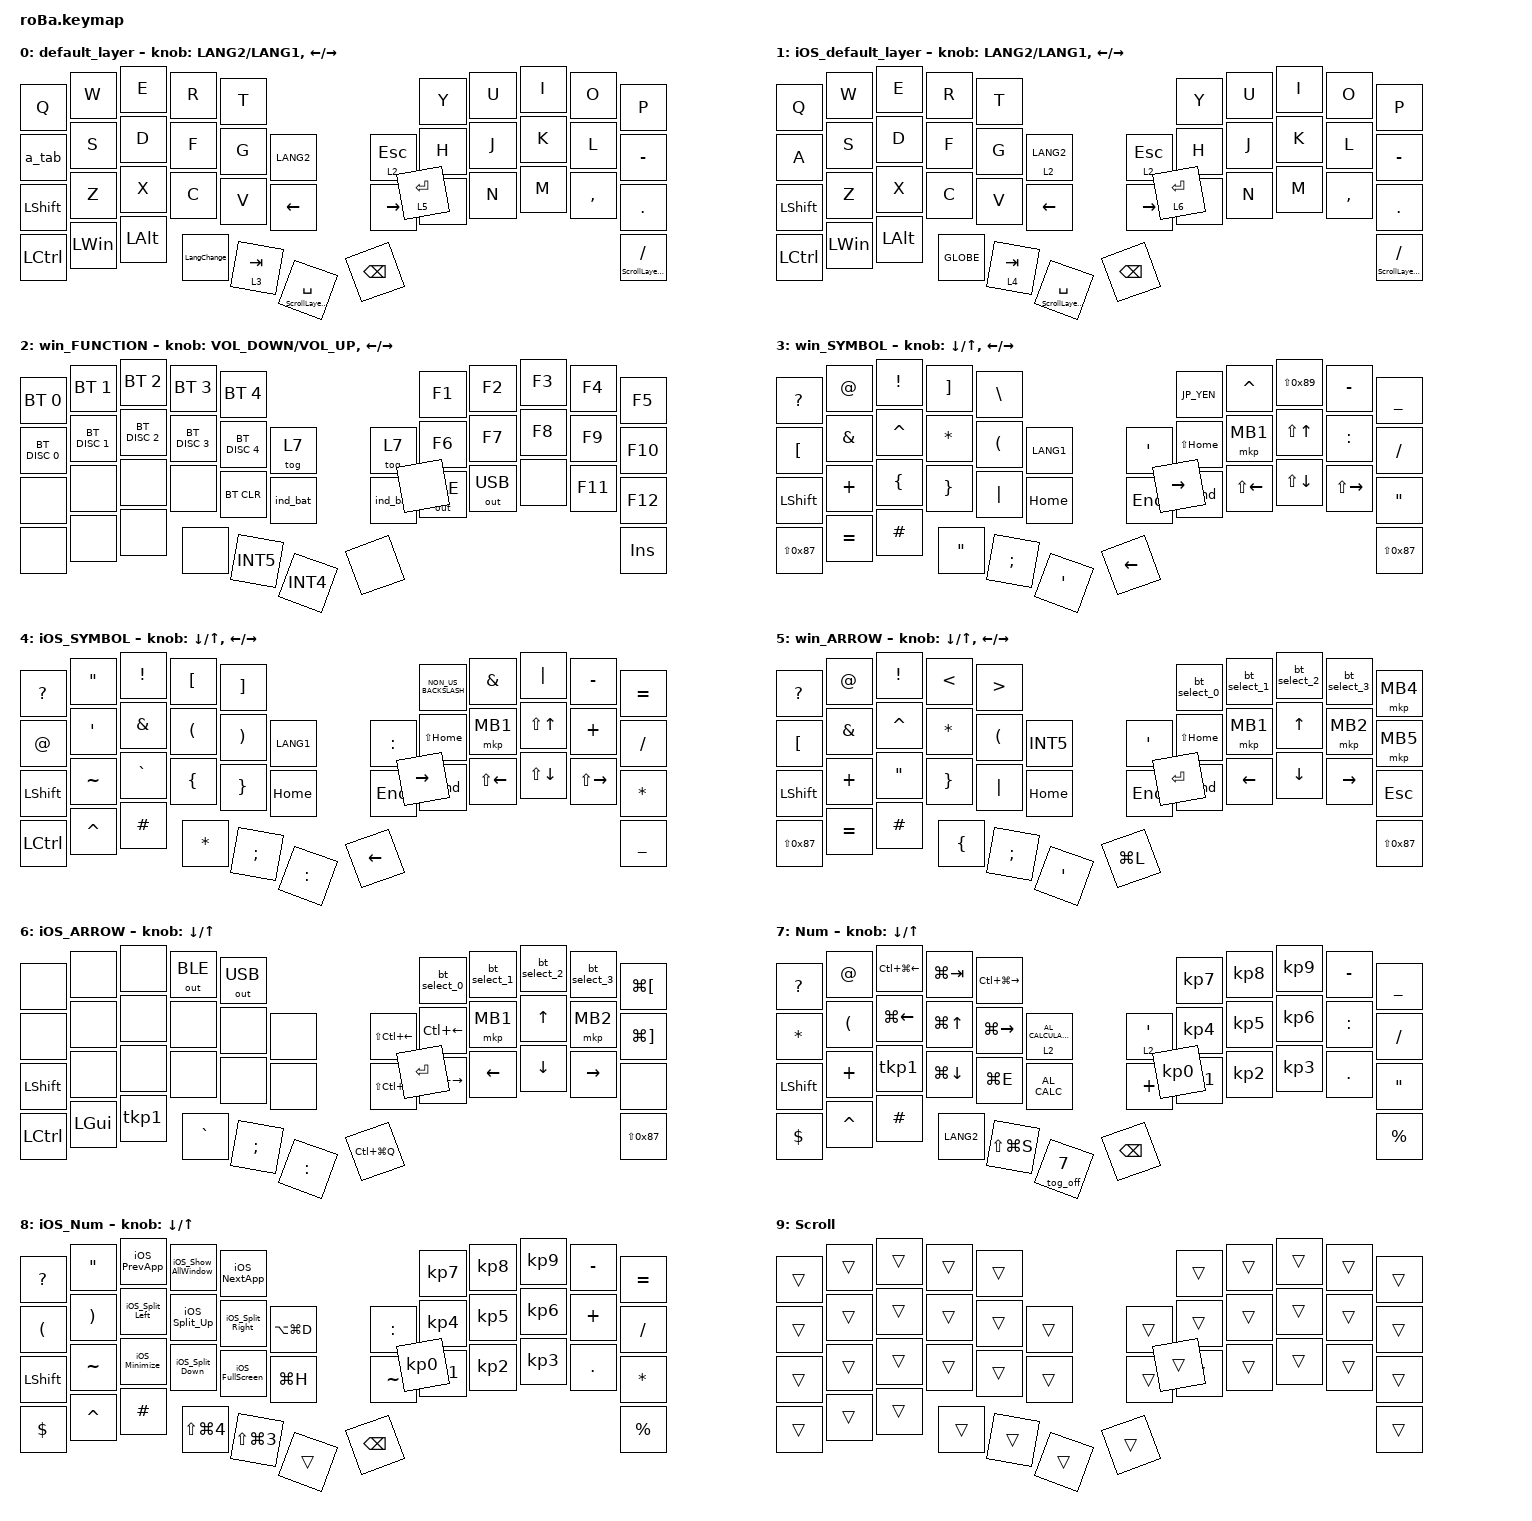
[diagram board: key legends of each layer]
#include <behaviors/rgbled_widget.dtsi>
#include <behaviors.dtsi>
#include <dt-bindings/zmk/bt.h>
#include <dt-bindings/zmk/keys.h>
#include <dt-bindings/zmk/outputs.h>
#include <dt-bindings/zmk/pointing.h>

// OS設定を日本語キーボードのまま使用するための変換定義

#define JP_DQUOTE       AT                // "
#define JP_AMPERSAND    CARET             // &
#define JP_QUOTE        AMPERSAND         // '
#define JP_EQUAL        UNDER             // =
#define JP_CARET        EQUAL             // ^
#define JP_YEN          0x89              // ¥
#define JP_PLUS         COLON             // +
#define JP_TILDE        PLUS              // ~
#define JP_PIPE         LS(0x89)          // |
#define JP_AT           LEFT_BRACKET      // @
#define JP_COLON        SINGLE_QUOTE      // :
#define JP_ASTERISK     DOUBLE_QUOTES     // *
#define JP_BACKQUOTE    LEFT_BRACE        // `
#define JP_UNDERSCORE   LS(0x87)          // _
#define JP_LBRACKET     RIGHT_BRACKET     // [
#define JP_RBRACKET     BACKSLASH         // ]
#define JP_LPAREN       ASTERISK          // (
#define JP_RPAREN       LEFT_PARENTHESIS  // )
#define JP_LBRACE       RIGHT_BRACE       // {
#define JP_RBRACE       PIPE              // }
#define JP_KANA         LANGUAGE_1        // かな
#define JP_EISU         LANGUAGE_2        // 英数
#define JP_HANZEN       GRAVE             // 半角/全角

&mt {
    flavor = "tap-preferred";
    quick-tap-ms = <0>;
};

&trackball {
    // automouse-layer = <1>;

    scroll-layers = <9>;

    arrows {
        layers = <3>;
        bindings =
            <&kp RIGHT_ARROW>,
            <&kp LEFT_ARROW>,
            <&kp UP_ARROW>,
            <&kp DOWN_ARROW>;

        tick = <60>;
        wait-ms = <50>;
        tap-ms = <5>;
    };

    arrows_iOS {
        layers = <4>;
        bindings =
            <&kp RIGHT_ARROW>,
            <&kp LEFT_ARROW>,
            <&kp UP_ARROW>,
            <&kp DOWN_ARROW>;

        tick = <30>;
        wait-ms = <10>;
        tap-ms = <5>;
    };
};

/ {
    combos {
        compatible = "zmk,combos";

        esc {
            bindings = <&kp ESC>;
            key-positions = <0 1>;
        };

        Fn2 {
            bindings = <&kp F2>;
            key-positions = <1 2>;
        };

        Fn5 {
            bindings = <&kp F5>;
            key-positions = <3 4>;
        };

        Left_Click {
            bindings = <&mkp MB1>;
            key-positions = <18 19>;
        };

        Right_Click {
            bindings = <&mkp MB2>;
            key-positions = <20 19>;
        };

        comboDELL {
            bindings = <&kp DEL>;
            key-positions = <8 9>;
        };

        ctrlQ {
            bindings = <&kp LC(Q)>;
            key-positions = <6 7>;
        };

        Underbar {
            bindings = <&kp JP_UNDERSCORE>;
            key-positions = <27 26>;
        };

        Pipe {
            bindings = <&kp JP_PIPE>;
            key-positions = <13 3>;
        };

        WindowClose {
            bindings = <&window_close>;
            key-positions = <8 7 9 6>;
        };

        ContextMenu {
            bindings = <&kp K_CONTEXT_MENU>;
            key-positions = <31 32>;
        };

        Home {
            bindings = <&kp HOME>;
            key-positions = <17 18 16>;
        };

        End {
            bindings = <&kp END>;
            key-positions = <30 29 28>;
        };

        Equal {
            bindings = <&kp JP_EQUAL>;
            key-positions = <26 25>;
        };

        percent {
            bindings = <&kp PERCENT>;
            key-positions = <14 13>;
        };

        colon {
            bindings = <&kp JP_COLON>;
            key-positions = <14 4>;
        };

        semicolon {
            bindings = <&kp SEMICOLON>;
            key-positions = <14 26>;
        };

        mb3 {
            bindings = <&mkp MB3>;
            key-positions = <20 19 18>;
        };

        comboEnter {
            bindings = <&kp ENTER>;
            key-positions = <33 42>;
        };

        Asterisk {
            bindings = <&kp JP_ASTERISK>;
            key-positions = <13 25>;
        };

        doublequote {
            bindings = <&kp JP_DQUOTE>;
            key-positions = <24 12>;
        };

        single_quote {
            bindings = <&kp JP_QUOTE>;
            key-positions = <23 11>;
        };
    };

    macros {
        to_layer_0: to_layer_0 {
            compatible = "zmk,behavior-macro-one-param";
            #binding-cells = <1>;
            bindings = <&to 0 &macro_param_1to1 &kp MACRO_PLACEHOLDER>;
            label = "TO_LAYER_0";
        };

        tkp1: tkp1 {
            compatible = "zmk,behavior-macro";
            #binding-cells = <0>;
            bindings = <&kp LS(T) &kp R &kp N5 &kp N3 &kp LS(D) &kp EXCL &kp G &kp J &kp O>;
            label = "TKP1";
        };

        window_close: window_close {
            compatible = "zmk,behavior-macro";
            #binding-cells = <0>;
            bindings =
                <&macro_press>,
                <&kp LEFT_ALT>,
                <&macro_wait_time 500>,
                <&macro_tap>,
                <&kp F4>,
                <&macro_wait_time 500>,
                <&macro_release>,
                <&kp LEFT_ALT>;

            label = "WINDOW_CLOSE";
        };

        bt_select_0: bt_select_0 {
            compatible = "zmk,behavior-macro";
            #binding-cells = <0>;
            bindings = <&tog_off 1>, <&macro_wait_time 200>, <&bt BT_SEL 0>;

            label = "BT_SELECT_0";
        };

        bt_select_1: bt_select_1 {
            compatible = "zmk,behavior-macro";
            #binding-cells = <0>;
            bindings = <&tog_off 1>, <&macro_wait_time 200>, <&bt BT_SEL 1>;

            label = "BT_SELECT_1";
        };

        bt_select_2: bt_select_2 {
            compatible = "zmk,behavior-macro";
            #binding-cells = <0>;
            bindings = <&bt BT_SEL 2>, <&macro_wait_time 500>, <&tog_on 1>;

            label = "BT_SELECT_2";
        };

        ScrollLayer_win: ScrollLayer_win {
            compatible = "zmk,behavior-macro";
            #binding-cells = <0>;
            bindings =
                <&tog_on 7>,
                <&macro_wait_time 100>,
                <&tog_on 9>,
                <&macro_pause_for_release>,
                <&tog_off 7>,
                <&macro_wait_time 100>,
                <&tog_off 9>;

            label = "SCROLLLAYER_WIN";
        };

        ScrollLayer_iOS: ScrollLayer_iOS {
            compatible = "zmk,behavior-macro";
            #binding-cells = <0>;
            bindings =
                <&tog_on 8>,
                <&macro_wait_time 100>,
                <&tog_on 9>,
                <&macro_pause_for_release>,
                <&tog_off 8>,
                <&macro_wait_time 100>,
                <&tog_off 9>;

            label = "SCROLLLAYER_IOS";
        };

        iOS_FullScreen: iOS_FullScreen {
            compatible = "zmk,behavior-macro";
            #binding-cells = <0>;
            bindings =
                <&macro_press>,
                <&kp GLOBE>,
                <&macro_tap>,
                <&kp F>,
                <&macro_release>,
                <&kp GLOBE>;

            label = "IOS_FULLSCREEN";
        };

        iOS_Minimize: iOS_Minimize {
            compatible = "zmk,behavior-macro";
            #binding-cells = <0>;
            bindings =
                <&macro_press>,
                <&kp GLOBE>,
                <&macro_tap>,
                <&kp M>,
                <&macro_release>,
                <&kp GLOBE>;

            label = "IOS_MINIMIZE";
        };

        iOS_Split_Left: iOS_Split_Left {
            compatible = "zmk,behavior-macro";
            #binding-cells = <0>;
            bindings =
                <&macro_press>,
                <&kp LCTRL &kp GLOBE>,
                <&macro_tap>,
                <&kp LEFT_ARROW>,
                <&macro_release>,
                <&kp LCTRL &kp GLOBE>;

            label = "IOS_SPLIT_LEFT";
        };

        iOS_Split_Right: iOS_Split_Right {
            compatible = "zmk,behavior-macro";
            #binding-cells = <0>;
            bindings =
                <&macro_press>,
                <&kp LCTRL &kp GLOBE>,
                <&macro_tap>,
                <&kp RIGHT_ARROW>,
                <&macro_release>,
                <&kp LCTRL &kp GLOBE>;

            label = "IOS_SPLIT_RIGHT";
        };

        iOS_Split_Up: iOS_Split_Up {
            compatible = "zmk,behavior-macro";
            #binding-cells = <0>;
            bindings =
                <&macro_press>,
                <&kp LCTRL &kp GLOBE>,
                <&macro_tap>,
                <&kp UP_ARROW>,
                <&macro_release>,
                <&kp LCTRL &kp GLOBE>;

            label = "IOS_SPLIT_UP";
        };

        iOS_Split_Down: iOS_Split_Down {
            compatible = "zmk,behavior-macro";
            #binding-cells = <0>;
            bindings =
                <&macro_press>,
                <&kp LCTRL &kp GLOBE>,
                <&macro_tap>,
                <&kp DOWN_ARROW>,
                <&macro_release>,
                <&kp LCTRL &kp GLOBE>;

            label = "IOS_SPLIT_DOWN";
        };

        iOS_Show_AllWindow: iOS_Show_AllWindow {
            compatible = "zmk,behavior-macro";
            #binding-cells = <0>;
            bindings =
                <&macro_press>,
                <&kp GLOBE>,
                <&macro_tap>,
                <&kp UP_ARROW>,
                <&macro_release>,
                <&kp GLOBE>;

            label = "IOS_SHOW_ALLWINDOW";
        };

        iOS_NextApp: iOS_NextApp {
            compatible = "zmk,behavior-macro";
            #binding-cells = <0>;
            bindings =
                <&macro_press>,
                <&kp GLOBE>,
                <&macro_tap>,
                <&kp RIGHT_ARROW>,
                <&macro_release>,
                <&kp GLOBE>;

            label = "IOS_NEXTAPP";
        };

        iOS_PrevApp: iOS_PrevApp {
            compatible = "zmk,behavior-macro";
            #binding-cells = <0>;
            bindings =
                <&macro_press>,
                <&kp GLOBE>,
                <&macro_tap>,
                <&kp LEFT_ARROW>,
                <&macro_release>,
                <&kp GLOBE>;

            label = "IOS_PREVAPP";
        };

        bt_select_3: bt_select_3 {
            compatible = "zmk,behavior-macro";
            #binding-cells = <0>;
            bindings = <&tog_off 1>, <&macro_wait_time 200>, <&bt BT_SEL 3>;

            label = "BT_SELECT_3";
        };
    };

    behaviors {
        lt_to_layer_0: lt_to_layer_0 {
            compatible = "zmk,behavior-hold-tap";
            label = "LAYER_TAP_TO_0";
            bindings = <&mo>, <&to_layer_0>;

            #binding-cells = <2>;
            tapping-term-ms = <200>;
        };

        scroll_up_down: behavior_sensor_rotate_mouse_wheel_up_down {
            compatible = "zmk,behavior-sensor-rotate";
            #sensor-binding-cells = <0>;
            bindings = <&msc SCRL_DOWN>, <&msc SCRL_UP>;

            // 追加: スクロールのタップ時間を設定 (20ms)

            tap-ms = <20>;
        };

        tog_on: toggle_layer_on_only {
            compatible = "zmk,behavior-toggle-layer";
            #binding-cells = <1>;
            display-name = "Toggle Layer On";
            toggle-mode = "on";
        };

        tog_off: toggle_layer_off_only {
            compatible = "zmk,behavior-toggle-layer";
            #binding-cells = <1>;
            display-name = "Toggle Layer Off";
            toggle-mode = "off";
        };

        lt_ScrollLayer_win: lt_ScrollLayer_win {
            compatible = "zmk,behavior-hold-tap";
            label = "LT_SCROLLLAYER_WIN";
            bindings = <&ScrollLayer_win>, <&kp>;

            #binding-cells = <2>;
            tapping-term-ms = <200>;
            flavor = "tap-preferred";
        };

        lt_ScrollLayer_iOS: lt_ScrollLayer_iOS {
            compatible = "zmk,behavior-hold-tap";
            label = "LT_SCROLLLAYER_IOS";
            bindings = <&ScrollLayer_iOS>, <&kp>;

            #binding-cells = <2>;
            tapping-term-ms = <200>;
            flavor = "tap-preferred";
        };

        a_tab: a_tab {
            compatible = "zmk,behavior-mod-morph";
            label = "A_TAB";
            bindings = <&kp A>, <&kp TAB>;

            #binding-cells = <0>;
            mods = <(MOD_LALT)>;
            keep-mods = <(MOD_LALT)>;
        };

        LangChange: LangChange {
            compatible = "zmk,behavior-tap-dance";
            label = "LANGCHANGE";
            #binding-cells = <0>;
            bindings = <&mt LEFT_SHIFT GRAVE>, <&kp LANG2>, <&kp LANG1>;
        };
    };

    keymap {
        compatible = "zmk,keymap";

        default_layer {
            bindings = <
&kp Q           &kp W         &kp E         &kp R        &kp T                                                        &kp Y        &kp U  &kp I  &kp O      &kp P
&a_tab          &kp S         &kp D         &kp F        &kp G      &kp LANG2                        &lt 2 ESC        &kp H        &kp J  &kp K  &kp L      &kp MINUS
&kp LEFT_SHIFT  &kp Z         &kp X         &kp C        &kp V      &kp LEFT_ARROW                   &kp RIGHT_ARROW  &kp B        &kp N  &kp M  &kp COMMA  &kp PERIOD
&kp LCTRL       &kp LEFT_WIN  &kp LEFT_ALT  &LangChange  &lt 3 TAB  &lt_ScrollLayer_win 0 SPACE      &kp BACKSPACE    &lt 5 ENTER                           &lt_ScrollLayer_win 0 SLASH
            >;

            sensor-bindings =
                <&inc_dec_kp LANG2 LANG1>,
                <&inc_dec_kp LEFT_ARROW RIGHT_ARROW>;
        };

        iOS_default_layer {
            bindings = <
&kp Q           &kp W         &kp E         &kp R      &kp T                                                        &kp Y        &kp U  &kp I  &kp O      &kp P
&kp A           &kp S         &kp D         &kp F      &kp G      &lt 2 LANG2                      &lt 2 ESC        &kp H        &kp J  &kp K  &kp L      &kp MINUS
&kp LEFT_SHIFT  &kp Z         &kp X         &kp C      &kp V      &kp LEFT_ARROW                   &kp RIGHT_ARROW  &kp B        &kp N  &kp M  &kp COMMA  &kp PERIOD
&kp LCTRL       &kp LEFT_WIN  &kp LEFT_ALT  &kp GLOBE  &lt 4 TAB  &lt_ScrollLayer_iOS 0 SPACE      &kp BACKSPACE    &lt 6 ENTER                           &lt_ScrollLayer_iOS 0 SLASH
            >;

            sensor-bindings =
                <&inc_dec_kp LANG2 LANG1>,
                <&inc_dec_kp LEFT_ARROW RIGHT_ARROW>;
        };

        win_FUNCTION {
            bindings = <
&bt BT_SEL 0   &bt BT_SEL 1   &bt BT_SEL 2   &bt BT_SEL 3   &bt BT_SEL 4                           &kp F1        &kp F2        &kp F3  &kp F4   &kp F5
&bt BT_DISC 0  &bt BT_DISC 1  &bt BT_DISC 2  &bt BT_DISC 3  &bt BT_DISC 4  &tog 7        &tog 7    &kp F6        &kp F7        &kp F8  &kp F9   &kp F10
&none          &none          &none          &none          &bt BT_CLR     &ind_bat      &ind_bat  &out OUT_BLE  &out OUT_USB  &none   &kp F11  &kp F12
&none          &none          &none          &none          &kp INT5       &kp INT4      &none     &none                                        &kp INSERT
            >;

            sensor-bindings =
                <&inc_dec_kp C_VOLUME_DOWN C_VOLUME_UP>,
                <&inc_dec_kp LEFT_ARROW RIGHT_ARROW>;
        };

        win_SYMBOL {
            bindings = <
&kp QUESTION       &kp JP_DQUOTE  &kp EXCLAMATION   &kp JP_LBRACKET   &kp JP_RBRACKET                                    &kp JP_YEN       &kp JP_AMPERSAND    &kp JP_PIPE         &kp MINUS            &kp JP_EQUAL
&kp JP_AT          &kp JP_QUOTE   &kp JP_AMPERSAND  &kp JP_LPAREN     &kp JP_RPAREN    &kp LANG1         &kp JP_COLON    &kp LS(HOME)     &mkp MB1            &kp LS(UP_ARROW)    &kp JP_PLUS          &kp SLASH
&kp LEFT_SHIFT     &kp JP_TILDE   &kp JP_BACKQUOTE  &kp JP_LBRACE     &kp JP_RBRACE    &kp HOME          &kp END         &kp LS(END)      &kp LS(LEFT_ARROW)  &kp LS(DOWN_ARROW)  &kp LS(RIGHT_ARROW)  &kp JP_ASTERISK
&kp JP_UNDERSCORE  &kp JP_CARET   &kp HASH          &kp JP_ASTERISK   &kp SEMICOLON    &kp JP_COLON      &kp LEFT_ARROW  &kp RIGHT_ARROW                                                               &kp JP_UNDERSCORE
            >;

            sensor-bindings =
                <&inc_dec_kp DOWN_ARROW UP_ARROW>,
                <&inc_dec_kp LEFT_ARROW RIGHT_ARROW>;
        };

        iOS_SYMBOL {
            bindings = <
&kp QUESTION      &kp DOUBLE_QUOTES  &kp EXCLAMATION  &kp LEFT_BRACKET      &kp RBKT                                              &kp NON_US_BACKSLASH  &kp AMPERSAND       &kp PIPE            &kp MINUS            &kp EQUAL
&kp AT_SIGN       &kp SQT            &kp AMPERSAND    &kp LEFT_PARENTHESIS  &kp RIGHT_PARENTHESIS  &kp LANG1      &kp COLON       &kp LS(HOME)          &mkp MB1            &kp LS(UP_ARROW)    &kp PLUS             &kp SLASH
&kp LEFT_SHIFT    &kp TILDE          &kp GRAVE        &kp LEFT_BRACE        &kp RIGHT_BRACE        &kp HOME       &kp END         &kp LS(END)           &kp LS(LEFT_ARROW)  &kp LS(DOWN_ARROW)  &kp LS(RIGHT_ARROW)  &kp ASTERISK
&kp LEFT_CONTROL  &kp CARET          &kp HASH         &kp ASTERISK          &kp SEMICOLON          &kp COLON      &kp LEFT_ARROW  &kp RIGHT_ARROW                                                                    &kp UNDERSCORE
            >;

            sensor-bindings =
                <&inc_dec_kp DOWN_ARROW UP_ARROW>,
                <&inc_dec_kp LEFT_ARROW RIGHT_ARROW>;
        };

        win_ARROW {
            bindings = <
&kp QUESTION       &kp JP_DQUOTE  &kp EXCLAMATION   &kp LESS_THAN     &kp GREATER_THAN                                  &bt_select_0  &bt_select_1    &bt_select_2    &bt_select_3     &mkp MB4
&kp JP_AT          &kp JP_QUOTE   &kp JP_AMPERSAND  &kp JP_LPAREN     &kp JP_RPAREN     &kp INT5          &kp JP_COLON  &kp LS(HOME)  &mkp MB1        &kp UP_ARROW    &mkp MB2         &mkp MB5
&kp LEFT_SHIFT     &kp JP_TILDE   &kp JP_ASTERISK   &kp JP_LBRACE     &kp JP_RBRACE     &kp HOME          &kp END       &kp LS(END)   &kp LEFT_ARROW  &kp DOWN_ARROW  &kp RIGHT_ARROW  &kp ESC
&kp JP_UNDERSCORE  &kp JP_CARET   &kp HASH          &kp JP_BACKQUOTE  &kp SEMICOLON     &kp JP_COLON      &kp LG(L)     &kp ENTER                                                      &kp JP_UNDERSCORE
            >;

            sensor-bindings =
                <&inc_dec_kp DOWN_ARROW UP_ARROW>,
                <&inc_dec_kp LEFT_ARROW RIGHT_ARROW>;
        };

        iOS_ARROW {
            bindings = <
&none             &none         &none  &out OUT_BLE  &out OUT_USB                                           &bt_select_0         &bt_select_1    &bt_select_2    &bt_select_3     &kp LG(LEFT_BRACKET)
&none             &none         &none  &none         &none          &none          &kp LS(LC(LEFT_ARROW))   &kp LC(LEFT_ARROW)   &mkp MB1        &kp UP_ARROW    &mkp MB2         &kp LG(RIGHT_BRACKET)
&kp LEFT_SHIFT    &none         &none  &none         &none          &none          &kp LS(LC(RIGHT_ARROW))  &kp LC(RIGHT_ARROW)  &kp LEFT_ARROW  &kp DOWN_ARROW  &kp RIGHT_ARROW  &none
&kp LEFT_CONTROL  &kp LEFT_GUI  &tkp1  &kp GRAVE     &kp SEMICOLON  &kp COLON      &kp LC(LG(Q))            &kp ENTER                                                             &kp JP_UNDERSCORE
            >;

            sensor-bindings = <&inc_dec_kp DOWN_ARROW UP_ARROW>;
        };

        Num {
            bindings = <
&kp QUESTION    &kp JP_DQUOTE  &kp LC(LG(LEFT_ARROW))  &kp LG(TAB)         &kp LC(LG(RIGHT_ARROW))                                             &kp KP_NUMBER_7  &kp KP_NUMBER_8  &kp KP_NUMBER_9  &kp MINUS    &kp JP_EQUAL
&kp JP_LPAREN   &kp JP_RPAREN  &kp LG(LEFT_ARROW)      &kp LG(UP_ARROW)    &kp LG(RIGHT_ARROW)      &lt 2 C_AL_CALCULATOR      &lt 2 JP_COLON  &kp KP_NUMBER_4  &kp KP_NUMBER_5  &kp KP_NUMBER_6  &kp JP_PLUS  &kp SLASH
&kp LEFT_SHIFT  &kp JP_TILDE   &tkp1                   &kp LG(DOWN_ARROW)  &kp LG(E)                &kp C_AL_CALC              &kp JP_TILDE    &kp KP_NUMBER_1  &kp KP_NUMBER_2  &kp KP_NUMBER_3  &kp PERIOD   &kp JP_ASTERISK
&kp DOLLAR      &kp CARET      &kp HASH                &kp LANG2           &kp LS(LG(S))            &tog_off 7                 &kp BACKSPACE   &kp KP_NUMBER_0                                                 &kp PERCENT
            >;

            sensor-bindings = <&inc_dec_kp DOWN_ARROW UP_ARROW>;
        };

        iOS_Num {
            bindings = <
&kp QUESTION          &kp DOUBLE_QUOTES      &iOS_PrevApp     &iOS_Show_AllWindow   &iOS_NextApp                                            &kp KP_NUMBER_7  &kp KP_NUMBER_8  &kp KP_NUMBER_9  &kp MINUS   &kp EQUAL
&kp LEFT_PARENTHESIS  &kp RIGHT_PARENTHESIS  &iOS_Split_Left  &iOS_Split_Up         &iOS_Split_Right      &kp LA(LG(D))      &kp COLON      &kp KP_NUMBER_4  &kp KP_NUMBER_5  &kp KP_NUMBER_6  &kp PLUS    &kp SLASH
&kp LEFT_SHIFT        &kp TILDE              &iOS_Minimize    &iOS_Split_Down       &iOS_FullScreen       &kp LG(H)          &kp TILDE      &kp KP_NUMBER_1  &kp KP_NUMBER_2  &kp KP_NUMBER_3  &kp PERIOD  &kp ASTERISK
&kp DOLLAR            &kp CARET              &kp HASH         &kp LS(LG(NUMBER_4))  &kp LS(LG(NUMBER_3))  &trans             &kp BACKSPACE  &kp KP_NUMBER_0                                                &kp PERCENT
            >;

            sensor-bindings = <&inc_dec_kp DOWN_ARROW UP_ARROW>;
        };

        Scroll {
            bindings = <
&trans  &trans  &trans  &trans  &trans                      &trans  &trans  &trans  &trans  &trans
&trans  &trans  &trans  &trans  &trans  &trans      &trans  &trans  &trans  &trans  &trans  &trans
&trans  &trans  &trans  &trans  &trans  &trans      &trans  &trans  &trans  &trans  &trans  &trans
&trans  &trans  &trans  &trans  &trans  &trans      &trans  &trans                          &trans
            >;
        };
    };

    conditional_layers { compatible = "zmk,conditional-layers"; };
};
